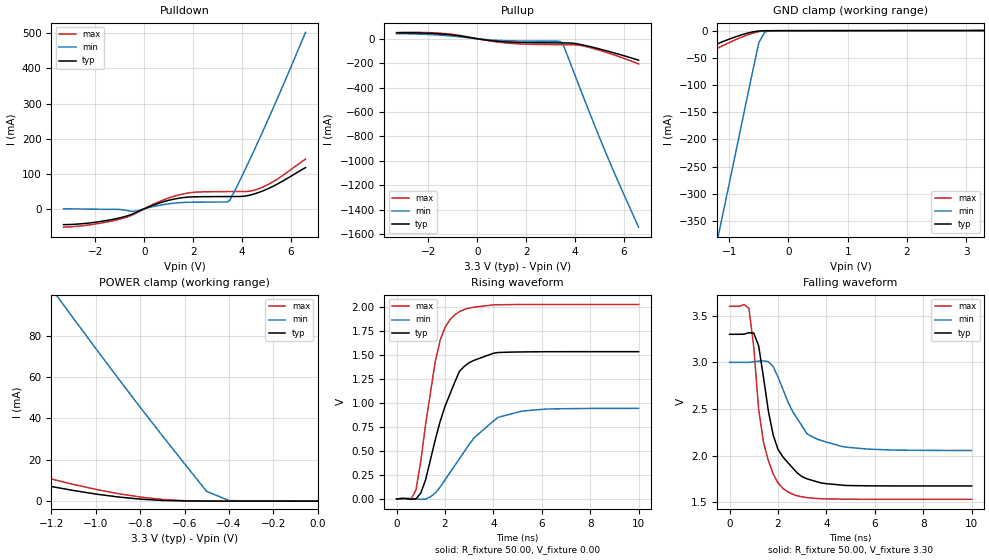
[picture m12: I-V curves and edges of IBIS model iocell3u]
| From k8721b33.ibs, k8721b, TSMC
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|   Model iocell3u
[Model]   iocell3u
Model_type   I/O
Polarity   Non-Inverting
Enable   Active-Low
Vinl =   0.80V
Vinh =   2.00V
Vmeas =  1.50V
C_comp   5.18e-12F   5.48e-12F   4.83e-12F
[Temperature Range]   25   125   0
[Voltage Range]   3.30V   3.00V   3.60V
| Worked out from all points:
|   slope of the pulldown table from 0 to 0.495 V, typ, clamps not added: 36.1 ohm
|   slope of the pullup table from 0 to 0.495 V, typ, clamps not added: 36.5 ohm
|   GND clamp passes 1 mA (typ) near -0.51 V on its own axis
|   POWER clamp passes 1 mA (typ) near -0.80 V on its own axis
|   rising waveform, R_fixture 50.00, V_fixture 0.00: 20-80 % time 1.12ns typ, 1.76ns min, 763ps max; typ from 0 V to 1.54 V
|   falling waveform, R_fixture 50.00, V_fixture 3.30: 20-80 % time 849ps typ, 1.13ns min, 618ps max; typ from 3.3 V to 1.68 V
[POWER_clamp]
| voltage   I(typ)   I(min)   I(max)
-3.3V     67.85mA    428.2mA    81.99mA
-3.1V     61.94mA    396.5mA    75.75mA
-2.7V     49.53mA    333.2mA    62.04mA
-1.9V     25.04mA    208.5mA    33.51mA
-1.5V     14.02mA    147.6mA    19.78mA
-1.2V     7.07mA     103mA      10.7mA
-1.1V     5.142mA    88.34mA    8.079mA
-800mV    978.1uA    45.46mA    2.002mA
-700mV    332.1uA    31.67mA    814.3uA
-500mV    45.22uA    4.687mA    54.51uA
-400mV    32.21uA    297.7uA    32.72uA
0V        358.1pA    32.75nA    736.7pA
[GND_clamp]
| voltage   I(typ)   I(min)   I(max)
-3.3V     -124.8mA   -1.386A    -146.4mA
-2.5V     -87.67mA   -1.028A    -105.5mA
-1.2V     -24.33mA   -384.3mA   -32.58mA
-1.1V     -19.91mA   -332.5mA   -27.23mA
-700mV    -4.926mA   -123.9mA   -8.304mA
-500mV    -805uA     -21.9mA    -1.95mA
-400mV    -346.2uA   -2.687mA   -586.6uA
-200mV    -280.1uA   -265.6uA   -304.5uA
3.3V      358.1pA    38.6uA     -24uA
[Pullup]
| voltage   I(typ)   I(min)   I(max)
-3.3V     48.13mA    42.25mA    51.22mA
-1.5V     39.36mA    29.07mA    45.1mA
-800mV    25.27mA    17.54mA    30.23mA
400mV     -11.27mA   -7.284mA   -14.4mA
1.2V      -26.09mA   -16.2mA    -34.81mA
3.4V      -34.08mA   -22.44mA   -48.88mA
3.5V      -34.18mA   -41.31mA   -49.04mA
4.1V      -42.47mA   -352.2mA   -51.45mA
4.5V      -59.08mA   -558.1mA   -67.15mA
5.4V      -105.3mA   -1.003A    -120mA
6.6V      -175.9mA   -1.545A    -206.8mA
[Pulldown]
| voltage   I(typ)   I(min)   I(max)
-3.3V     -44.97mA   -85uA      -52.15mA
-2.1V     -39.03mA   -878.2uA   -44.3mA
-900mV    -24mA      -2.509mA   -27.45mA
-400mV    -12.39mA   -7.38mA    -14.81mA
700mV     18.41mA    11.08mA    23.08mA
1.6V      32.02mA    18.2mA     42.54mA
3.4V      35.06mA    19.76mA    49.15mA
3.5V      35.09mA    24.05mA    49.19mA
4.3V      38.69mA    137.2mA    50.27mA
4.8V      49.69mA    212.8mA    60.62mA
5.5V      72.65mA    322.8mA    87.28mA
6.6V      117.6mA    502.9mA    141.5mA
[Ramp]
| variable   typ   min   max
dV/dt_r   0.93/1.10e-09   0.57/1.65e-09   1.22/7.86e-10
dV/dt_f   0.99/8.39e-10   0.58/1.14e-09   1.25/6.11e-10
R_load = 50.00
[Rising Waveform]
R_fixture = 50.00
V_fixture = 0.00
V_fixture_min = 0.00
V_fixture_max = 0.00
| time   V(typ)   V(min)   V(max)
0s        2.635uV    2.397uV    2.874uV
600ps     -3.916mV   5.546mV    -2.435mV
800ps     -408.2uV   297.1uV    92.75mV
1.2ns     199.7mV    -1.032mV   778.5mV
1.6ns     618mV      62.59mV    1.436V
2ns       964.9mV    196.6mV    1.789V
2.4ns     1.216V     346.9mV    1.92V
3ns       1.421V     568.4mV    1.992V
4.2ns     1.528V     851.5mV    2.026V
10ns      1.537V     945mV      2.029V
[Falling Waveform]
R_fixture = 50.00
V_fixture = 3.30
V_fixture_min = 3.00
V_fixture_max = 3.60
| time   V(typ)   V(min)   V(max)
0s        3.3V       3V         3.6V
800ps     3.316V     3V         3.577V
1ns       3.312V     3.006V     3.16V
1.2ns     3.177V     3.012V     2.498V
1.4ns     2.84V      3.015V     2.142V
1.8ns     2.222V     2.954V     1.805V
2.2ns     1.988V     2.713V     1.65V
3.2ns     1.752V     2.235V     1.552V
3.8ns     1.706V     2.161V     1.539V
10ns      1.676V     2.055V     1.533V
